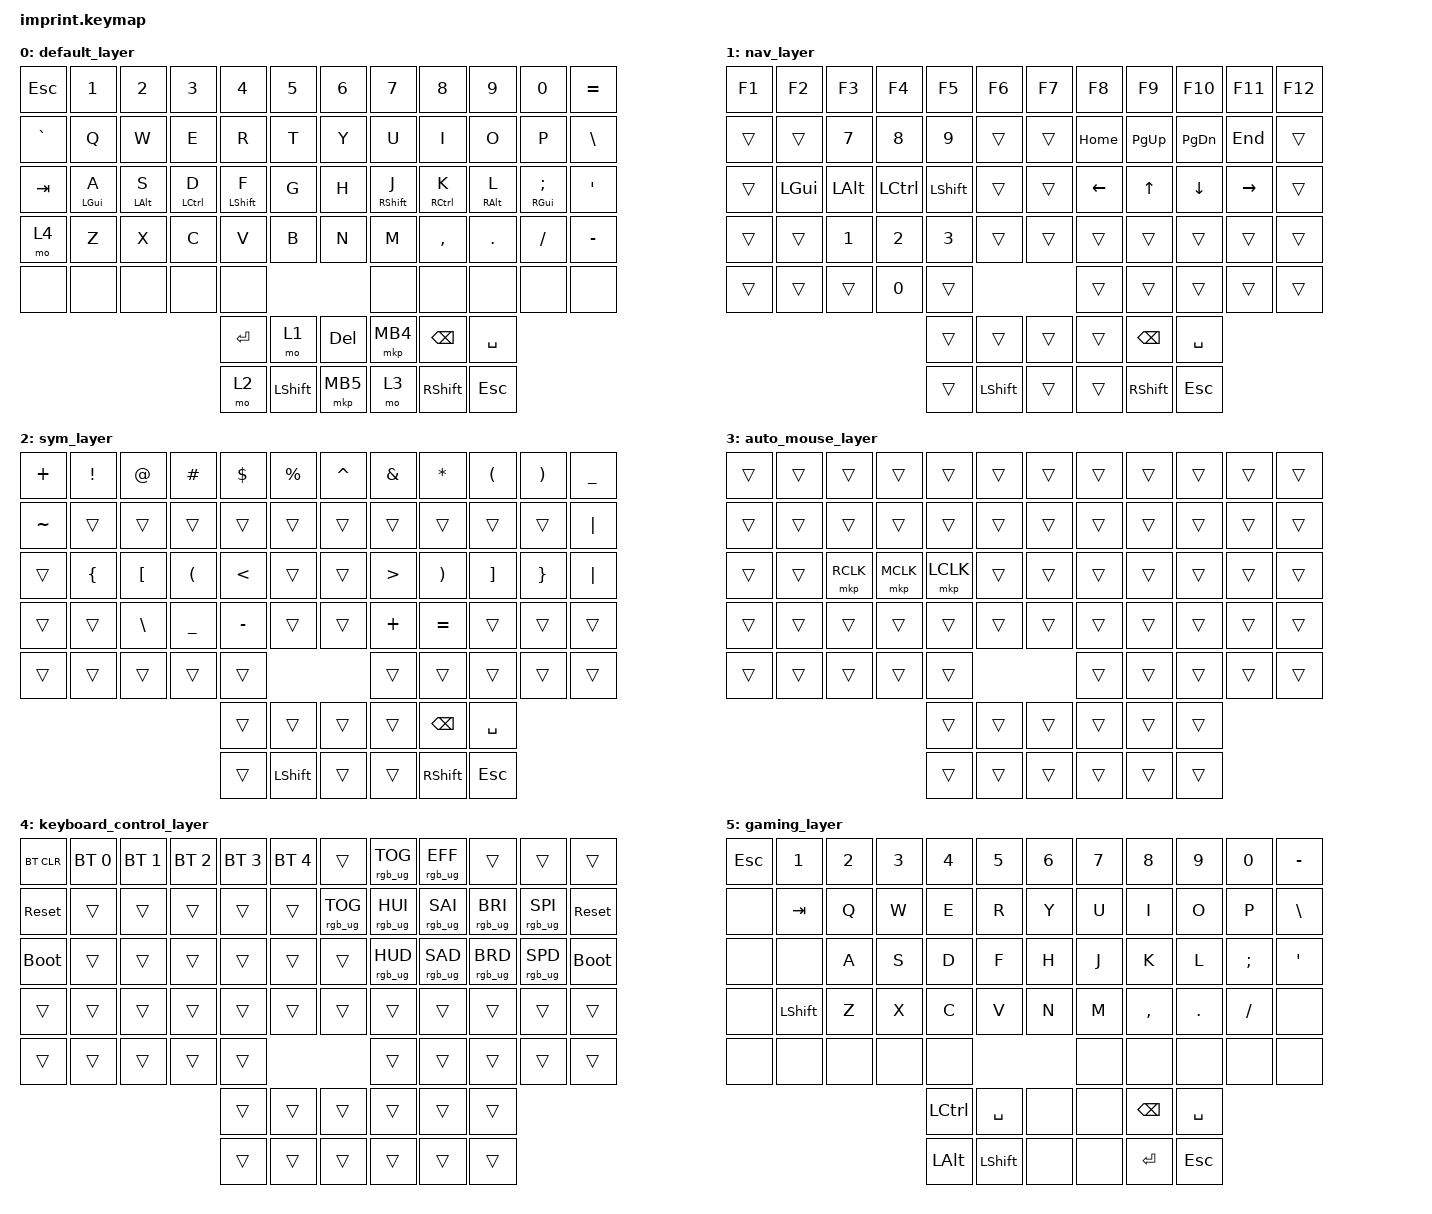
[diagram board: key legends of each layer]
#include <input/processors.dtsi>
#include <dt-bindings/zmk/input_transform.h>
#include <behaviors.dtsi>
#include <dt-bindings/zmk/bt.h>
#include <dt-bindings/zmk/keys.h>
#include <dt-bindings/zmk/pointing.h>
#include <dt-bindings/zmk/rgb.h>

// ── Key position groups for positional home row mods ─────────────
// Left-hand keys: rows 0-4 left side
#define KEYS_L 0 1 2 3 4 5 12 13 14 15 16 17 24 25 26 27 28 29 36 37 38 39 40 41 48 49 50 51 52
// Right-hand keys: rows 0-4 right side
#define KEYS_R 6 7 8 9 10 11 18 19 20 21 22 23 30 31 32 33 34 35 42 43 44 45 46 47 53 54 55 56 57
// All thumb keys
#define THUMBS 58 59 60 61 62 63 64 65 66 67 68 69

/ {
    chosen { zmk,matrix-transform = &imprint_number_row_full_bottom_row; };

    behaviors {
        // Home row mod — left hand
        // Hold triggers only when a RIGHT-hand key or thumb is pressed
        hml: home_row_mod_left {
            compatible = "zmk,behavior-hold-tap";
            #binding-cells = <2>;
            flavor = "balanced";
            tapping-term-ms = <280>;
            quick-tap-ms = <175>;
            require-prior-idle-ms = <150>;
            bindings = <&kp>, <&kp>;
            hold-trigger-key-positions = <KEYS_R THUMBS>;
            hold-trigger-on-release;
        };

        // Home row mod — right hand (mirror)
        hmr: home_row_mod_right {
            compatible = "zmk,behavior-hold-tap";
            #binding-cells = <2>;
            flavor = "balanced";
            tapping-term-ms = <280>;
            quick-tap-ms = <175>;
            require-prior-idle-ms = <150>;
            bindings = <&kp>, <&kp>;
            hold-trigger-key-positions = <KEYS_L THUMBS>;
            hold-trigger-on-release;
        };
    };

    combos {
        compatible = "zmk,combos";
        // Press Z + / together to toggle gaming layer
        combo_gaming {
            timeout-ms = <50>;
            key-positions = <37 46>; // Z (row3 col1) + / (row3 col10)
            bindings = <&tog 5>;
        };
    };

    keymap {
        compatible = "zmk,keymap";

        // ┌─────────────────────────────────────────────────────────┐
        // │ Layer 0: Default                                        │
        // │                                                         │
        // │ Home row mods: hold = modifier, tap = letter            │
        // │ Thumb: RET NAV DEL(hard) | MB4 BSPC SPACE              │
        // │        SYM SHFT MB5      | MO3(hard) SHFT ESC          │
        // └─────────────────────────────────────────────────────────┘
        default_layer {
            bindings = <
&kp ESC     &kp N1         &kp N2        &kp N3          &kp N4          &kp N5                &kp N6   &kp N7          &kp N8          &kp N9         &kp N0           &kp EQUAL
&kp GRAVE   &kp Q          &kp W         &kp E           &kp R           &kp T                 &kp Y    &kp U           &kp I           &kp O          &kp P            &kp BSLH
&kp TAB     &hml LGUI A    &hml LALT S   &hml LCTRL D    &hml LSHFT F    &kp G                 &kp H    &hmr RSHFT J    &hmr RCTRL K    &hmr RALT L    &hmr RGUI SEMI   &kp SQT
&mo 4       &kp Z          &kp X         &kp C           &kp V           &kp B                 &kp N    &kp M           &kp COMMA       &kp DOT        &kp FSLH         &kp MINUS
&none       &none          &none         &none           &none                                           &none           &none           &none          &none            &none
                                                          &kp RET         &mo 1      &kp DEL    &mkp MB4 &kp BSPC        &kp SPACE
                                                          &mo 2           &kp LSHFT  &mkp MB5   &mo 3    &kp RSHFT       &kp ESC
            >;
        };

        // ┌─────────────────────────────────────────────────────────┐
        // │ Layer 1: Nav                                            │
        // │                                                         │
        // │ Left:  mods on home row (for Ctrl+Arrow combos)         │
        // │        partial numpad on rows 1, 3, 4                   │
        // │ Right: arrows, home/end, pgup/pgdn                     │
        // └─────────────────────────────────────────────────────────┘
        nav_layer {
            bindings = <
&kp F1      &kp F2         &kp F3        &kp F4          &kp F5          &kp F6                &kp F7   &kp F8          &kp F9          &kp F10        &kp F11          &kp F12
&trans      &trans         &kp N7        &kp N8          &kp N9          &trans                &trans   &kp HOME        &kp PG_UP       &kp PG_DN      &kp END          &trans
&trans      &kp LGUI       &kp LALT      &kp LCTRL       &kp LSHFT       &trans                &trans   &kp LEFT        &kp UP          &kp DOWN       &kp RIGHT        &trans
&trans      &trans         &kp N1        &kp N2          &kp N3          &trans                &trans   &trans          &trans          &trans         &trans           &trans
&trans      &trans         &trans        &kp N0          &trans                                          &trans          &trans          &trans         &trans           &trans
                                                          &trans          &trans     &trans     &trans   &kp BSPC        &kp SPACE
                                                          &trans          &kp LSHFT  &trans     &trans   &kp RSHFT       &kp ESC
            >;
        };

        // ┌─────────────────────────────────────────────────────────┐
        // │ Layer 2: Symbols                                        │
        // │                                                         │
        // │ Number row: shifted symbols in same positions (familiar)│
        // │ Home row: opening brackets left, closing brackets right │
        // │ Bottom row: backslash, underscore, minus / plus, equal  │
        // └─────────────────────────────────────────────────────────┘
        sym_layer {
            bindings = <
&kp PLUS    &kp EXCL       &kp AT        &kp HASH        &kp DLLR        &kp PRCNT             &kp CARET &kp AMPS       &kp ASTRK       &kp LPAR       &kp RPAR         &kp UNDER
&kp TILDE   &trans         &trans        &trans          &trans          &trans                &trans   &trans          &trans          &trans         &trans           &kp PIPE
&trans      &kp LBRC       &kp LBKT      &kp LPAR        &kp LT          &trans                &trans   &kp GT          &kp RPAR        &kp RBKT       &kp RBRC         &kp PIPE
&trans      &trans         &kp BSLH      &kp UNDER       &kp MINUS       &trans                &trans   &kp PLUS        &kp EQUAL       &trans         &trans           &trans
&trans      &trans         &trans        &trans          &trans                                          &trans          &trans          &trans         &trans           &trans
                                                          &trans          &trans     &trans     &trans   &kp BSPC        &kp SPACE
                                                          &trans          &kp LSHFT  &trans     &trans   &kp RSHFT       &kp ESC
            >;
        };

        // ┌─────────────────────────────────────────────────────────┐
        // │ Layer 3: Auto Mouse (trackball auto-activate)           │
        // │                                                         │
        // │ S = right click, D = middle click, F = left click       │
        // │ All other keys transparent to active layer              │
        // └─────────────────────────────────────────────────────────┘
        auto_mouse_layer {
            bindings = <
&trans   &trans   &trans      &trans      &trans      &trans              &trans   &trans   &trans   &trans   &trans   &trans
&trans   &trans   &trans      &trans      &trans      &trans              &trans   &trans   &trans   &trans   &trans   &trans
&trans   &trans   &mkp RCLK   &mkp MCLK   &mkp LCLK   &trans              &trans   &trans   &trans   &trans   &trans   &trans
&trans   &trans   &trans      &trans      &trans      &trans              &trans   &trans   &trans   &trans   &trans   &trans
&trans   &trans   &trans      &trans      &trans                                   &trans   &trans   &trans   &trans   &trans
                                           &trans      &trans   &trans    &trans   &trans   &trans
                                           &trans      &trans   &trans    &trans   &trans   &trans
            >;
        };

        // ┌─────────────────────────────────────────────────────────┐
        // │ Layer 4: Keyboard Control (hold MO4 / bottom-left key)  │
        // │                                                         │
        // │ BT, RGB, reset, bootloader                              │
        // │ Gaming toggle: press Z + / combo                        │
        // └─────────────────────────────────────────────────────────┘
        keyboard_control_layer {
            bindings = <
&bt BT_CLR    &bt BT_SEL 0   &bt BT_SEL 1   &bt BT_SEL 2   &bt BT_SEL 3   &bt BT_SEL 4          &trans            &rgb_ug RGB_TOG   &rgb_ug RGB_EFF   &trans            &trans            &trans
&sys_reset    &trans          &trans          &trans          &trans          &trans                &rgb_ug RGB_TOG   &rgb_ug RGB_HUI   &rgb_ug RGB_SAI   &rgb_ug RGB_BRI   &rgb_ug RGB_SPI   &sys_reset
&bootloader   &trans          &trans          &trans          &trans          &trans                &trans            &rgb_ug RGB_HUD   &rgb_ug RGB_SAD   &rgb_ug RGB_BRD   &rgb_ug RGB_SPD   &bootloader
&trans        &trans          &trans          &trans          &trans          &trans                &trans            &trans            &trans            &trans            &trans            &trans
&trans        &trans          &trans          &trans          &trans                                                  &trans            &trans            &trans            &trans            &trans
                                                              &trans          &trans     &trans     &trans            &trans            &trans
                                                              &trans          &trans     &trans     &trans            &trans            &trans
            >;
        };

        // ┌─────────────────────────────────────────────────────────┐
        // │ Layer 5: Gaming                                         │
        // │                                                         │
        // │ Whole layout shifts 1 column right for ESDF home.       │
        // │ Physical ESDF sends WASD — no per-game rebinding.       │
        // │ No home row mods. Plain keys for held movement.         │
        // │ Toggle in/out: press Z + / combo                        │
        // └─────────────────────────────────────────────────────────┘
        gaming_layer {
            bindings = <
&kp ESC     &kp N1          &kp N2         &kp N3          &kp N4          &kp N5                &kp N6    &kp N7          &kp N8          &kp N9         &kp N0           &kp MINUS
&none       &kp TAB         &kp Q          &kp W           &kp E           &kp R                 &kp Y     &kp U           &kp I           &kp O          &kp P            &kp BSLH
&none       &none           &kp A          &kp S           &kp D           &kp F                 &kp H     &kp J           &kp K           &kp L          &kp SEMI         &kp SQT
&none       &kp LSHFT       &kp Z          &kp X           &kp C           &kp V                 &kp N     &kp M           &kp COMMA       &kp DOT        &kp FSLH         &none
&none       &none           &none          &none           &none                                            &none           &none           &none          &none            &none
                                                            &kp LCTRL       &kp SPACE  &none      &none     &kp BSPC        &kp SPACE
                                                            &kp LALT        &kp LSHFT  &none      &none     &kp RET         &kp ESC
            >;
        };
    };
};

// ── Trackball configuration ──────────────────────────────────────

// Right hand trackball: cursor movement, auto-activates mouse layer
&trackball_peripheral_listener {
    input-processors =
        <&zip_temp_layer 3 500>;
};

// Left hand trackball: scroll wheel
&trackball_central_listener {
    input-processors =
        <&zip_xy_scaler 1 3>,
        <&zip_xy_to_scroll_mapper>,
        <&zip_scroll_transform INPUT_TRANSFORM_Y_INVERT>;
};
